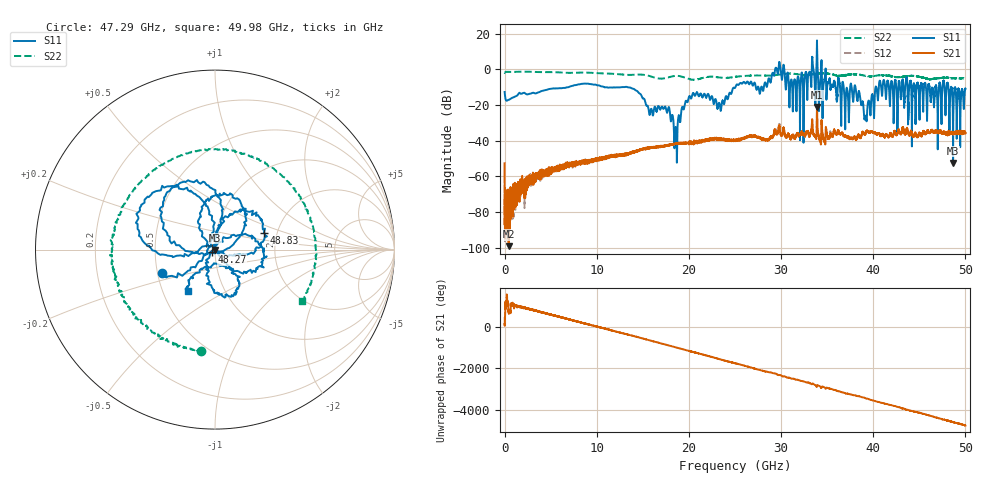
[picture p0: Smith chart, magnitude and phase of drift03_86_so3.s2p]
!Created with skrf (http://scikit-rf.org).
# Hz S RI R 50.0
!freq ReS11 ImS11 ReS21 ImS21 ReS12 ImS12 ReS22 ImS22
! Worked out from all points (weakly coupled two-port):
!   10001 points, 300 kHz to 50 GHz, reference 50 ohm
!   highest |S21| = -21.13 dB at 33.9 GHz (marker M1); lowest = -99.1 dB at 440.3 MHz (marker M2)
!   lowest |S11| = -52.5 dB at 48.67 GHz (marker M3), VSWR 1.00, Z = 50.2 - j0.136 ohm
!   |S11| at or under -10 dB: start of sweep to 6.943 GHz; 13.33 GHz to 25.05 GHz (11.72 GHz wide, 61.1 % of centre); 38.07 GHz to 40.25 GHz (2.179 GHz wide, 5.56 % of centre) (the widest 3 of 52)
!   |S22| runs from -5.9 to -1.3 dB; largest |S21 - S12| = 0.0079
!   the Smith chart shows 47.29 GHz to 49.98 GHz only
!   S11 on the Smith chart (normalised r, x): 47.29 GHz: 0.53, -0.16; 48.27 GHz: 0.96, -0.02; 48.83 GHz: 1.70, +0.35; 49.98 GHz: 0.67, -0.34
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300000  -0.2104 -0.096  -0.00157 0.00173  -0.000107 0.00106  -0.7685 -0.191
4.402974e8  -0.0867 0.1097  9.76e-06 -5.23e-06  0.000108 -6.94e-05  -0.5303 0.6592
1.540291e9  0.2061 0.0414  -0.000212 -0.000456  -0.000169 -0.000426  0.85 0.0705
3.160281e9  -0.2186 -0.00856  0.000247 0.000699  0.000257 0.000821  -0.8446 -0.0262
4.665272e9  0.2636 0.0616  1.15e-05 -0.00134  5.25e-05 -0.0014  0.8186 0.1444
6.360262e9  -0.3002 0.000616  0.000582 0.00195  0.000728 0.00181  -0.8046 -0.0465
8.33525e9  0.2845 -0.2668  -0.00225 -0.000976  -0.00232 -0.0009  0.6051 -0.5337
9.590242e9  -0.3716 -0.0377  0.00161 0.0023  0.00134 0.00244  -0.7878 -0.0774
1.123523e10  0.3056 0.0305  -0.00216 -0.00269  -0.002 -0.00277  0.7578 0.0393
1.66702e10  0.0532 0.0754  0.00452 -0.00473  0.00474 -0.00506  -0.367 0.4148
2.500015e10  -0.2968 -0.0505  0.00812 0.00615  0.0073 0.00652  -0.1781 -0.5883
3.052512e10  0.2218 -0.1702  -0.00148 0.0127  -0.00155 0.0125  0.7455 -0.0684
3.214011e10  0.1981 0.4283  -0.000438 -0.0148  3.13e-05 -0.0153  -0.696 -0.000783
3.33351e10  0.4919 -1.002  -0.00492 0.0247  -0.00626 0.0254  0.6105 0.3733
3.38951e10  -0.6549 -6.382  0.087 0.012  0.0843 0.00754  0.6839 -0.317
4.167005e10  -0.2304 0.2811  -0.0116 -0.00448  -0.0116 -0.00537  -0.662 -0.0666
4.728502e10  -0.2967 -0.1323  -0.00887 -0.0172  -0.009 -0.0159  -0.0781 -0.5629
4.826501e10  -0.0179 -0.0128  -0.0101 0.0129  -0.0102 0.0136  -0.5379 0.179
4.866501e10  0.00195 -0.00136  0.00363 0.0155  0.00372 0.0164  -0.263 0.4903
4.883001e10  0.2723 0.0947  0.00962 0.0143  0.00935 0.0134  -0.0993 0.5498
4.998e10  -0.1506 -0.232  0.00268 -0.0169  0.00248 -0.0171  0.4847 -0.287
5e10  -0.1341 -0.2535  0.000892 -0.0164  0.0015 -0.0151  0.4762 -0.3102
